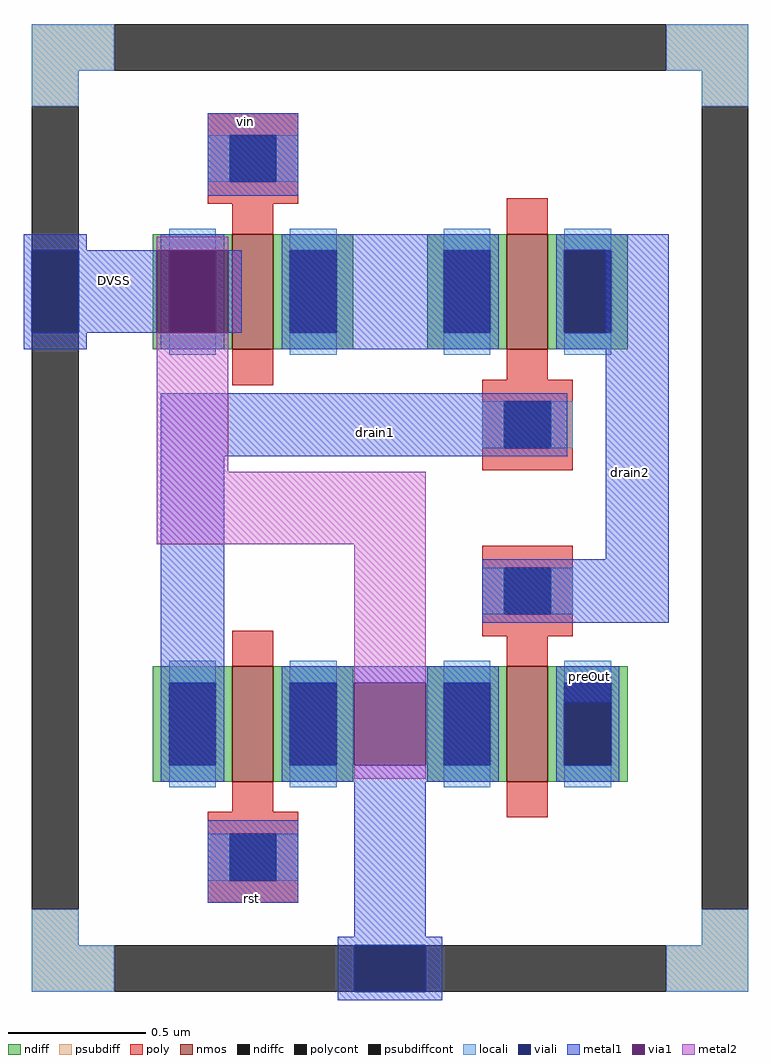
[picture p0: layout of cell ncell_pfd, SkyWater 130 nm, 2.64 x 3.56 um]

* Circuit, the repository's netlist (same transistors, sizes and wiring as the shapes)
** sch_path: /home/gils/aic/sky130_its_biomedical_chip_research_2024/xschem/ncell_pfd.sch
.subckt ncell_pfd rst vin drain1 drain2 preOut DVSS
*.PININFO rst:I vin:I drain1:I drain2:I preOut:O DVSS:I
XM1 drain1 rst DVSS DVSS sky130_fd_pr__nfet_01v8 L=0.15 W=0.42 nf=1 m=1
XM2 net1 vin DVSS DVSS sky130_fd_pr__nfet_01v8 L=0.15 W=0.42 nf=1 m=1
XM3 preOut drain2 DVSS DVSS sky130_fd_pr__nfet_01v8 L=0.15 W=0.42 nf=1 m=1
XM4 drain2 drain1 net1 DVSS sky130_fd_pr__nfet_01v8 L=0.15 W=0.42 nf=1 m=1
.ends
.end

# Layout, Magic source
magic
tech sky130A
magscale 1 2
<< psubdiff >>
rect -80 237 -20 271
rect 382 237 442 271
rect -80 211 -46 237
rect -80 -400 -46 -374
rect 408 211 442 237
rect 408 -400 442 -374
rect -80 -434 -20 -400
rect 382 -434 442 -400
<< psubdiffcont >>
rect -20 237 382 271
rect -80 -374 -46 211
rect 408 -374 442 211
rect -20 -434 382 -400
<< locali >>
rect -80 237 -20 271
rect 382 237 442 271
rect -80 211 -46 237
rect -80 -400 -46 -374
rect 408 211 442 237
rect 408 -400 442 -374
rect -80 -434 -20 -400
rect 382 -434 442 -400
<< viali >>
rect -80 46 -46 106
rect 155 -434 207 -400
<< metal1 >>
rect 48 146 114 206
rect -86 106 -40 118
rect -86 46 -80 106
rect -46 46 11 106
rect 63 46 73 106
rect -86 34 -40 46
rect 102 34 260 118
rect 14 -44 310 2
rect 14 -270 60 -44
rect 338 -119 384 118
rect 248 -165 384 -119
rect 102 -209 260 -197
rect 102 -269 155 -209
rect 207 -269 260 -209
rect 302 -223 348 -197
rect 102 -281 260 -269
rect 48 -369 114 -309
rect 155 -394 207 -281
rect 143 -400 219 -394
rect 143 -434 155 -400
rect 207 -434 219 -400
rect 143 -440 219 -434
<< via1 >>
rect 11 46 63 106
rect 155 -269 207 -209
<< metal2 >>
rect 11 106 63 116
rect 11 -55 63 46
rect 11 -108 207 -55
rect 155 -209 207 -108
rect 155 -279 207 -269
use sky130_fd_pr__nfet_01v8_7XSGLL  sky130_fd_pr__nfet_01v8_7XSGLL_0
transform 1 0 81 0 -1 -270
box -73 -99 73 99
use sky130_fd_pr__nfet_01v8_7XSGLL  sky130_fd_pr__nfet_01v8_7XSGLL_1
transform 1 0 81 0 1 107
box -73 -99 73 99
use sky130_fd_pr__nfet_01v8_7XSGLL  sky130_fd_pr__nfet_01v8_7XSGLL_2
transform 1 0 281 0 -1 45
box -73 -99 73 99
use sky130_fd_pr__nfet_01v8_7XSGLL  sky130_fd_pr__nfet_01v8_7XSGLL_3
transform 1 0 281 0 1 -208
box -73 -99 73 99
<< labels >>
flabel metal1 -20 84 -20 84 0 FreeSans 160 0 0 0 DVSS
port 0 nsew
flabel metal1 356 -56 356 -56 0 FreeSans 160 0 0 0 drain2
port 2 nsew
flabel metal1 326 -204 326 -204 0 FreeSans 160 0 0 0 preOut
port 3 nsew
flabel metal1 80 -366 80 -366 0 FreeSans 160 0 0 0 rst
port 4 nsew
flabel metal1 76 200 76 200 0 FreeSans 160 0 0 0 vin
port 5 nsew
flabel metal1 170 -27 170 -26 0 FreeSans 160 0 0 0 drain1
port 6 nsew
<< end >>

# cell sky130_fd_pr__nfet_01v8_7XSGLL: kit device sky130_fd_pr__nfet_01v8, w 0.420 l 0.150 m 1 nf 1 diffcov 100 polycov 100 guard 0 glc 1 grc 1 gtc 1 gbc 1 tbcov 100 rlcov 100 topc 1 botc 0 poverlap 0 doverlap 1 lmin 0.15 wmin 0.42 compatible {sky130_fd_pr__nfet_01v8 sky130_fd_pr__nfet_01v8_lvt sky130_fd_bs_flash__special_sonosfet_star sky130_fd_pr__nfet_g5v0d10v5 sky130_fd_pr__nfet_05v0_nvt sky130_fd_pr__nfet_03v3_nvt} full_metal 1 viasrc 100 viadrn 100 viagate 100 viagb 0 viagr 0 viagl 0 viagt 0
